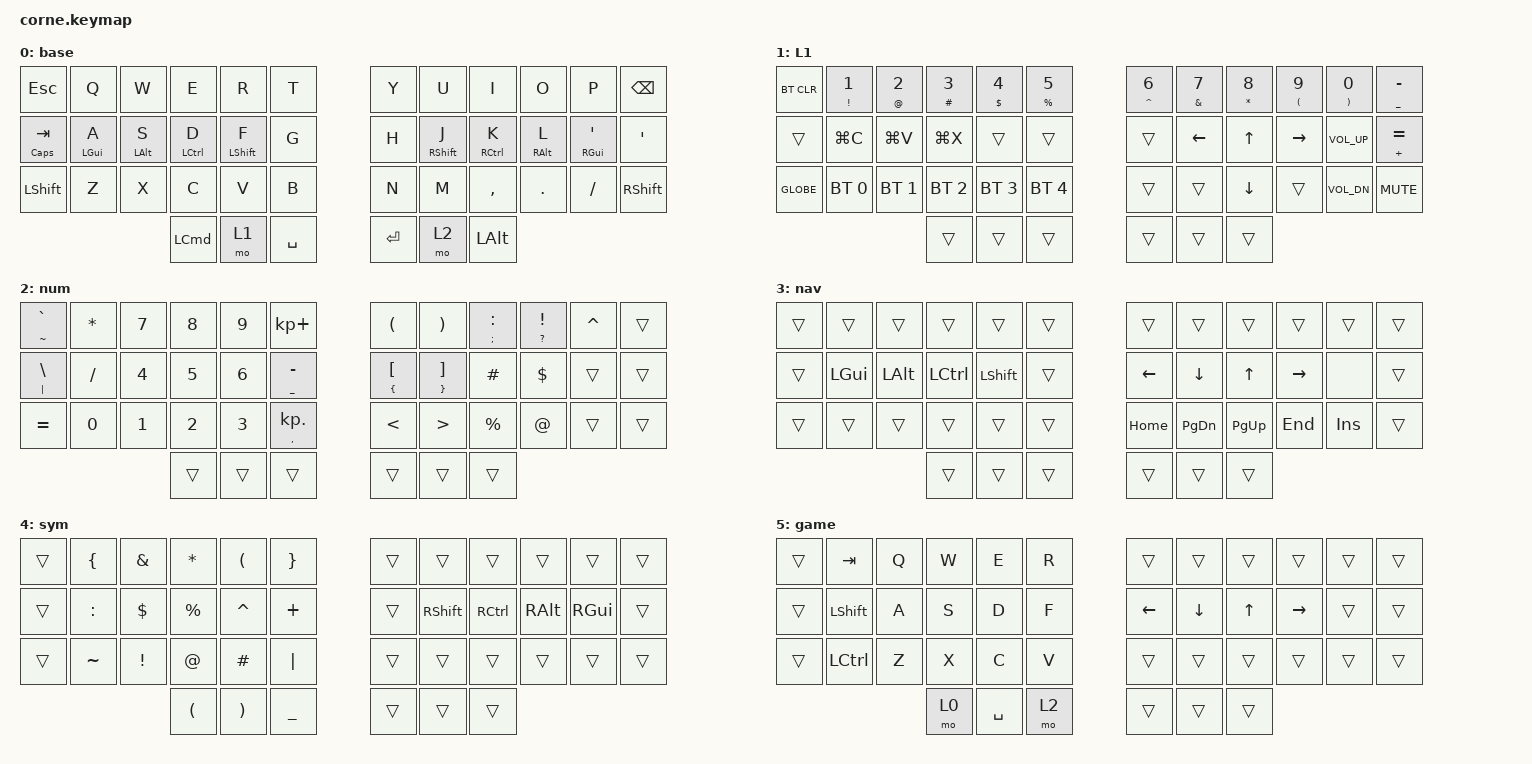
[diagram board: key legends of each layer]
/*
 * Copyright (c) 2020 The ZMK Contributors
 *
 * SPDX-License-Identifier: MIT
 */

#define ZMK_POINTING_DEFAULT_MOVE_VAL 1500  // default: 600
#define ZMK_POINTING_DEFAULT_SCRL_VAL 20    // default: 10

#include <behaviors.dtsi>
#include <dt-bindings/zmk/bt.h>
#include <dt-bindings/zmk/keys.h>

/ {
    combos {
        compatible = "zmk,combos";

        combo_game {
            bindings = <&tog 5>;
            key-positions = <36 41>;
            timeout-ms = <200>;
        };

        game_esc {
            bindings = <&kp ESC>;
            key-positions = <1 2>;
            layers = <5>;
        };
    };

    behaviors {
        hml: hml {
            compatible = "zmk,behavior-hold-tap";
            label = "HML";
            bindings = <&kp>, <&kp>;

            #binding-cells = <2>;
            tapping-term-ms = <220>;
            quick-tap-ms = <175>;
            flavor = "balanced";
            require-prior-idle-ms = <100>;
            hold-trigger-key-positions = <39 40 41 30 18 6 7 9 10 11 18 19 20 21 22 23 30 31 32 33 34 35 40 41 8 36 37 38>;
            hold-trigger-on-release;
        };

        hmr: hmr {
            compatible = "zmk,behavior-hold-tap";
            label = "HMR";
            bindings = <&kp>, <&kp>;

            #binding-cells = <2>;
            tapping-term-ms = <220>;
            quick-tap-ms = <175>;
            require-prior-idle-ms = <100>;
            flavor = "balanced";
            hold-trigger-key-positions = <0 1 2 3 4 5 12 13 14 15 16 17 24 25 26 27 28 29 36 37 38 39 40 41>;
            hold-trigger-on-release;
        };

        tkl: tkl {
            compatible = "zmk,behavior-hold-tap";
            label = "TKL";
            bindings = <&mo>, <&kp>;

            #binding-cells = <2>;
            tapping-term-ms = <220>;
            quick-tap-ms = <175>;
            flavor = "balanced";
            require-prior-idle-ms = <100>;
            hold-trigger-key-positions = <39 40 41 30 18 6 7 9 10 11 18 19 20 21 22 23 30 31 32 33 34 35 40 41 8 38 37 36>;
            hold-trigger-on-release;
        };

        tkr: tkr {
            compatible = "zmk,behavior-hold-tap";
            label = "TKR";
            bindings = <&mo>, <&kp>;

            #binding-cells = <2>;
            tapping-term-ms = <220>;
            quick-tap-ms = <175>;
            require-prior-idle-ms = <100>;
            flavor = "balanced";
            hold-trigger-key-positions = <0 1 2 3 4 5 12 13 14 15 16 17 24 25 26 27 28 29 36 37 38 39 40 41>;
            hold-trigger-on-release;
        };
    };

    keymap {
        compatible = "zmk,keymap";

        base {
            // -----------------------------------------------------------------------------------------
            // |  TAB |  Q  |  W  |  E  |  R  |  T  |   |  Y  |  U   |  I  |  O  |  P  | BKSP |
            // | CTRL |  A  |  S  |  D  |  F  |  G  |   |  H  |  J   |  K  |  L  |  ;  |  '   |
            // | SHFT |  Z  |  X  |  C  |  V  |  B  |   |  N  |  M   |  ,  |  .  |  /  | ESC  |
            //                    | GUI | LWR | SPC |   | ENT | RSE  | ALT |

            bindings = <
&kp ESC           &kp Q            &kp W            &kp E                &kp R              &kp T        &kp Y      &kp U               &kp I                 &kp O             &kp P               &kp BACKSPACE
&mt CAPSLOCK TAB  &hml LEFT_GUI A  &hml LEFT_ALT S  &hml LEFT_CONTROL D  &hml LEFT_SHIFT F  &kp G        &kp H      &hmr RIGHT_SHIFT J  &hmr RIGHT_CONTROL K  &hmr RIGHT_ALT L  &hmr RIGHT_GUI SQT  &kp SINGLE_QUOTE
&kp LEFT_SHIFT    &kp Z            &kp X            &kp C                &kp V              &kp B        &kp N      &kp M               &kp COMMA             &kp DOT           &kp FSLH            &kp RIGHT_SHIFT
                                                    &kp LEFT_COMMAND     &mo 1              &kp SPACE    &kp ENTER  &mo 2               &kp LEFT_ALT
            >;
        };

        L1 {
            bindings = <
&bt BT_CLR  &mt EXCLAMATION NUMBER_1  &mt AT_SIGN NUMBER_2  &mt POUND NUMBER_3  &mt DOLLAR NUMBER_4  &mt PERCENT NUMBER_5    &mt CARET NUMBER_6  &mt AMPERSAND NUMBER_7  &mt ASTERISK NUMBER_8  &mt LEFT_PARENTHESIS NUMBER_9  &mt RIGHT_PARENTHESIS NUMBER_0  &mt UNDERSCORE MINUS
&trans      &kp LG(C)                 &kp LG(V)             &kp LG(X)           &trans               &trans                  &trans              &kp LEFT_ARROW          &kp UP_ARROW           &kp RIGHT_ARROW                &kp C_VOLUME_UP                 &mt PLUS EQUAL
&kp GLOBE   &bt BT_SEL 0              &bt BT_SEL 1          &bt BT_SEL 2        &bt BT_SEL 3         &bt BT_SEL 4            &trans              &trans                  &kp DOWN_ARROW         &trans                         &kp C_VOL_DN                    &kp K_MUTE
                                                            &trans              &trans               &trans                  &trans              &trans                  &trans
            >;
        };

        num {
            bindings = <
&mt TILDE GRAVE  &kp ASTERISK  &kp N7  &kp N8  &kp N9  &kp KP_PLUS             &kp LEFT_PARENTHESIS         &kp RIGHT_PARENTHESIS          &mt SEMICOLON COLON  &mt QUESTION EXCLAMATION  &kp CARET  &trans
&mt PIPE BSLH    &kp SLASH     &kp N4  &kp N5  &kp N6  &mt UNDERSCORE MINUS    &mt LEFT_BRACE LEFT_BRACKET  &mt RIGHT_BRACE RIGHT_BRACKET  &kp HASH             &kp DOLLAR                &trans     &trans
&kp EQUAL        &kp NUMBER_0  &kp N1  &kp N2  &kp N3  &mt COMMA KP_DOT        &kp LESS_THAN                &kp GREATER_THAN               &kp PERCENT          &kp AT_SIGN               &trans     &trans
                                       &trans  &trans  &trans                  &trans                       &trans                         &trans
            >;
        };

        nav {
            bindings = <
&trans  &trans        &trans        &trans            &trans          &trans    &trans          &trans          &trans        &trans     &trans      &trans
&trans  &kp LEFT_GUI  &kp LEFT_ALT  &kp LEFT_CONTROL  &kp LEFT_SHIFT  &trans    &kp LEFT_ARROW  &kp DOWN_ARROW  &kp UP_ARROW  &kp RIGHT  &none       &trans
&trans  &trans        &trans        &trans            &trans          &trans    &kp HOME        &kp PAGE_DOWN   &kp PAGE_UP   &kp END    &kp INSERT  &trans
                                    &trans            &trans          &trans    &trans          &trans          &trans
            >;
        };

        sym {
            // -----------------------------------------------------------------------------------------
            // |  TAB |  1  |  2  |  3  |  4  |  5  |   |  6  |  7  |  8  |  9  |  0  | BKSP |
            // | BTCLR| BT1 | BT2 | BT3 | BT4 | BT5 |   | LFT | DWN |  UP | RGT |     |      |
            // | SHFT |     |     |     |     |     |   |     |     |     |     |     |      |
            //                    | GUI |     | SPC |   | ENT |     | ALT |

            bindings = <
&trans  &kp LEFT_BRACE  &kp AMPERSAND    &kp ASTERISK          &kp LEFT_PARENTHESIS   &kp RIGHT_BRACE    &trans  &trans           &trans             &trans         &trans         &trans
&trans  &kp COLON       &kp DOLLAR       &kp PERCENT           &kp CARET              &kp PLUS           &trans  &kp RIGHT_SHIFT  &kp RIGHT_CONTROL  &kp RIGHT_ALT  &kp RIGHT_GUI  &trans
&trans  &kp TILDE       &kp EXCLAMATION  &kp AT                &kp HASH               &kp PIPE           &trans  &trans           &trans             &trans         &trans         &trans
                                         &kp LEFT_PARENTHESIS  &kp RIGHT_PARENTHESIS  &kp UNDER          &trans  &trans           &trans
            >;
        };

        game {
            bindings = <
&trans  &kp TAB           &kp Q  &kp W  &kp E      &kp R    &trans    &trans          &trans        &trans           &trans  &trans
&trans  &kp LEFT_SHIFT    &kp A  &kp S  &kp D      &kp F    &kp LEFT  &kp DOWN_ARROW  &kp UP_ARROW  &kp RIGHT_ARROW  &trans  &trans
&trans  &kp LEFT_CONTROL  &kp Z  &kp X  &kp C      &kp V    &trans    &trans          &trans        &trans           &trans  &trans
                                 &mo 0  &kp SPACE  &mo 2    &trans    &trans          &trans
            >;
        };
    };
};
